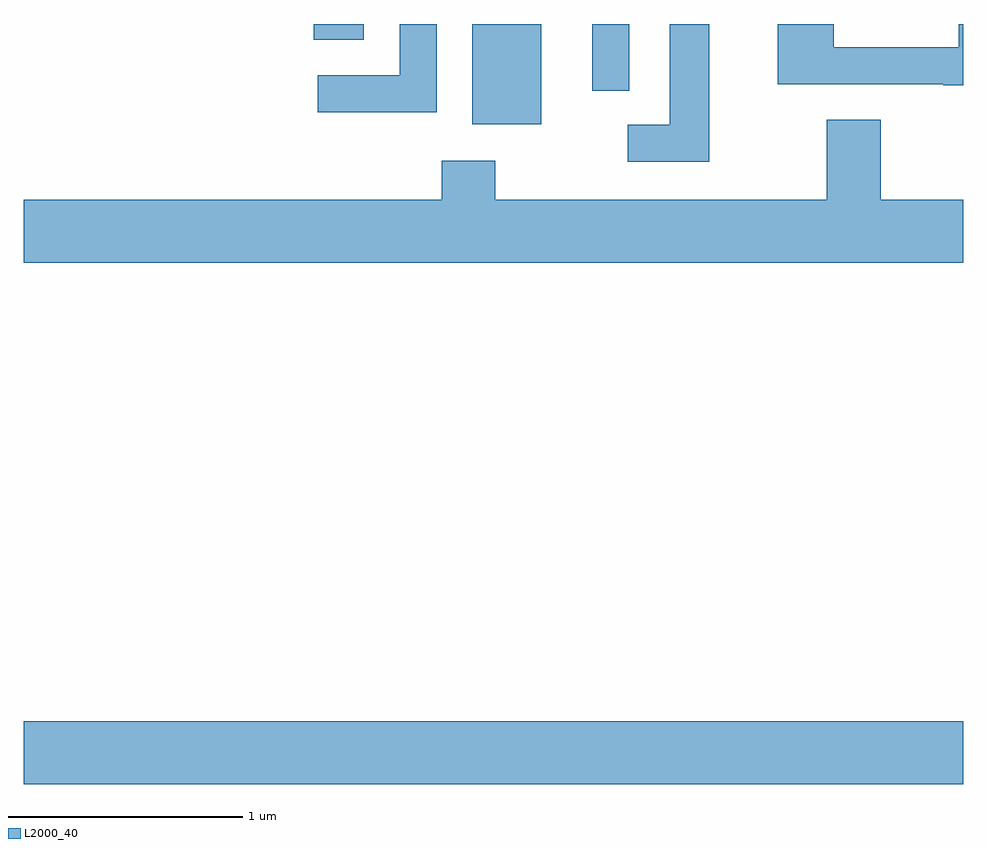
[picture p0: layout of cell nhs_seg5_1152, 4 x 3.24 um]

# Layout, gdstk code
import gdstk
lib = gdstk.Library(unit=1e-6, precision=1e-09)
def R(c, l, rs):  # rectangles x0, y0, x1, y1
    for r in rs: c.add(gdstk.rectangle(r[:2], r[2:], *l))
def P(c, l, *ps):  # polygons
    for p in ps: c.add(gdstk.Polygon(p, *l))
L2000_40 = (2000, 40)

nhs_seg5_1152 = lib.new_cell('nhs_seg5_1152')
R(nhs_seg5_1152, L2000_40, [(219.611,1416.836,223.611,1417.104), (221.521,1419.646,221.814,1420.072), (222.031,1419.788,222.189,1420.072), (220.846,1420.006,221.059,1420.072)])
P(nhs_seg5_1152, L2000_40, [(223.611,1420.072),(223.591,1420.072),(223.591,1419.974),(223.059,1419.974),(223.059,1420.072),(222.821,1420.072),(222.821,1419.816),(223.525,1419.816),(223.525,1419.811),(223.611,1419.811)],
  [(222.529,1420.072),(222.361,1420.072),(222.361,1419.644),(222.183,1419.644),(222.183,1419.486),(222.529,1419.486)],
  [(221.369,1420.072),(221.211,1420.072),(221.211,1419.854),(220.863,1419.854),(220.863,1419.696),(221.369,1419.696)],
  [(223.611,1419.324),(223.259,1419.324),(223.259,1419.664),(223.031,1419.664),(223.031,1419.324),(221.619,1419.324),(221.619,1419.489),(221.391,1419.489),(221.391,1419.324),(219.611,1419.324),(219.611,1419.056),(223.611,1419.056)])

lib.write_gds('nhs_seg5_1152.gds')
